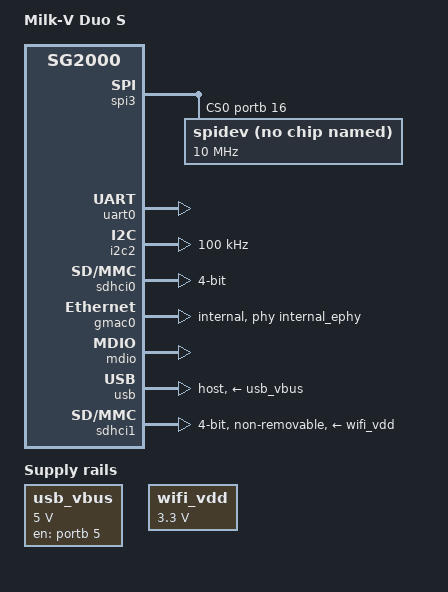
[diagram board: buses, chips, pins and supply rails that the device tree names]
// SPDX-License-Identifier: (GPL-2.0 OR MIT)
/*
 * Device tree for the Milk-V Duo S (Sophgo SG2000, aarch64 ARM Cortex-A53).
 *
 * Based on mainline sg2000-milkv-duo-module-01-evb.dts.
 *
 * The Duo S uses the SG2000 SoM (Module 01) with a carrier board. This DTS
 * reuses the Module 01 DTSI, which enables eMMC, the sdhci1/WiFi stubs, and
 * aliases. It then adds the nodes that the Duo S carrier contributes:
 *   - uart0, enabled.
 *   - sdhci0, enabled for the SD card root.
 *   - chosen stdout-path for the ttyS0 console.
 *   - Ethernet: SG2000 internal EPHY (phy-mode = "internal"). The carrier has
 *     no external PHY. The DTSI sets phy-handle=<&internal_ephy> and
 *     phy-mode="internal". This DTS enables the MAC and MDIO.
 *   - USB: the usb node, enabled with dr_mode = "host". The carrier exposes a
 *     USB-A host port. GPIO portb pin 5 (USB_VBUS_EN) gates the port VBUS.
 *
 * Carrier nodes that are omitted:
 *   - LEDs and GPIO buttons: carrier-specific, not in the mainline sg2000 DTSI.
 *   - Camera/CSI: the ISP nodes are not in the mainline sg2000 DTSI.
 */

/dts-v1/;
#include "sg2000-milkv-duo-module-01.dtsi"
#include <dt-bindings/gpio/gpio.h>

/ {
	model = "Milk-V Duo S";
	compatible = "milkv,duo-s", "sophgo,sg2000";

	chosen {
		stdout-path = "serial0:115200n8";
	};
};

/*
 * SoC reset for userspace `reboot`.
 *
 * The mainline sg2000.dtsi has no watchdog node, so mainline Linux registers
 * no restart handler for this SoC other than PSCI. The inherited /psci node
 * (arm,psci-0.2, method "smc") routes machine_restart to SYSTEM_RESET in BL31.
 * The SG2000 BL31 blob does not implement SYSTEM_RESET. The SMC returns and
 * machine_restart() spins forever after printing "reboot: Restarting system".
 *
 * The fix is to expose the CV1800B/SG2000 Synopsys DesignWare watchdog. The
 * mainline dw_wdt driver (CONFIG_DW_WDT) registers a restart handler at
 * priority 128. Its dw_wdt_restart() programs the shortest timeout in RESET
 * response mode and kicks the counter. This asserts the SoC watchdog-reset line.
 *
 * The watchdog reset output is gated in the always-on RTC block by
 * RTC_EN_WDT_RST_REQ (0x050260E0). The vendor FSBL (sophgo/fsbl plat/cv181x,
 * built by pkgs/firmware/fsbl.nix) writes 0x050260E0 = 1 in early platform
 * init. A watchdog timeout then propagates to a full SoC reset. Mainline Linux
 * does not clear that bit, so the watchdog restart handler resets the SoC.
 *
 * Node facts:
 *   - base 0x03010000, size 0x1000: from the vendor cv181x_base.dtsi
 *     "cv-wd@0x3010000" (compatible "snps,dw-wdt") and vendor u-boot
 *     WATCHDOG_BASE = TOP_BASE + 0x10000 = 0x03000000 + 0x10000.
 *   - clock CLK_APB_WDT (58): the mainline sophgo clk driver registers the
 *     clk_apb_wdt gate off the 25 MHz osc, matching the vendor
 *     CONFIG_DW_WDT_CLOCK_KHZ 25000. dw_wdt takes the first unnamed clock
 *     (devm_clk_get_enabled(dev, NULL)) as its timer clock.
 * `resets` is omitted. dw_wdt treats it as optional and the WDT is already out
 * of reset from u-boot. This avoids a dependency on the sophgo,cv1800b-reset
 * driver being built in.
 */
/* The mainline sg2000.dtsi gives the soc node no label, so merge by full path. */
/ {
	/* The SPI core sets bus_num from of_alias_get_id(node, "spi") and falls
	 * back to dynamic numbering when no alias matches. This alias fixes the
	 * controller to bus 3, so the device is /dev/spidev3.0 and not
	 * /dev/spidev0.0. */
	aliases {
		spi3 = &spi3;
	};

	soc {
		watchdog@3010000 {
			compatible = "snps,dw-wdt";
			reg = <0x03010000 0x1000>;
			clocks = <&clk CLK_APB_WDT>;
		};

		/* Reset controller. reset-simple handles sophgo,cv1800b-reset. The
		 * mainline sg2000.dtsi omits it. SPI3 comes up held in reset on the
		 * ARM core, so its register access stalls the dw_spi probe until the
		 * driver deasserts RST_SPI3. */
		rst: reset-controller@3003000 {
			compatible = "sophgo,cv1800b-reset";
			reg = <0x03003000 0x1000>;
			#reset-cells = <1>;
		};

		/* SPI3 (DesignWare APB SSI). The mainline sg2000.dtsi omits the SPI
		 * controllers, so this DTS defines the node. It is on the 40-pin
		 * header:
		 *   pin19 XGPIOB_13/SPI3_SDO(MOSI)  pin21 XGPIOB_14/SPI3_SDI(MISO)
		 *   pin23 XGPIOB_15/SPI3_SCK        pin24 XGPIOB_16/SPI3_CS
		 * The pads are VIVO_D5..D8, SPI3 = pinmux 5 (see &spi3_cfg). */
		spi3: spi@41b0000 {
			compatible = "snps,dw-apb-ssi";
			reg = <0x041b0000 0x10000>;
			#address-cells = <1>;
			#size-cells = <0>;
			interrupts = <SOC_PERIPHERAL_IRQ(41) IRQ_TYPE_LEVEL_HIGH>;
			clocks = <&clk CLK_SPI>, <&clk CLK_APB_SPI3>;
			clock-names = "ssi_clk", "pclk";
			/* No reset. SPI3 is already out of reset from u-boot/FSBL, and
			 * the vendor arm64 DTS drives it with no reset. Mainline has no
			 * cv18xx reset header to verify an RST_SPI3 index against, so
			 * this DTS does not touch an unverified reset bit. */
			num-cs = <1>;
			/* No DMA. The mainline dw-axi-dmac cannot do slave DMA on
			 * this SoC. dw_axi_dma_set_hw_channel() programs the
			 * handshake number through a second register window (apb_regs),
			 * mapped only for compatibles that carry
			 * AXI_DMA_FLAG_HAS_APB_REGS. snps,axi-dma-1.01a has no such
			 * flag. On the SG2000 the handshake selection lives in the
			 * dmamux instead. With dmas set, every slave prepare fails with
			 *   dw_axi_dmac_platform 4330000.dma-controller: apb_regs not initialized
			 * and dw_spi retries per frame. The IDs are correct (SPI3_TX 23,
			 * SPI3_RX 22, cpu cell 0 = CA53 / 1 = C906B), but the driver
			 * support is not present. PIO is slower but boots reliably. */
			/* GPIO chip select, active high. The board wires
			 * LED_DIN = CS AND SDO through U10, and the AND gate only
			 * passes data while CS is high.
			 *
			 * The native DW CS cannot do this. dw_spi_set_cs only
			 * chooses whether to set the Slave Enable bit. SER is set
			 * regardless of active-high or active-low CS level, so the
			 * pad stays active-low in hardware and SPI_CS_HIGH has no
			 * effect on it.
			 *
			 * A gpiod CS honours polarity: spi_toggle_csgpiod() calls
			 * gpiod_set_value(desc, activate) and the GPIO library
			 * applies GPIO_ACTIVE_HIGH. dw_spi sets
			 * SPI_CONTROLLER_GPIO_SS, so the core still calls set_cs to
			 * raise SER and the transfer proceeds.
			 *
			 * VIVO_D5 is XGPIOB_16 at mux 3, so the pad is muxed as
			 * GPIO rather than SPI3_CS (see &spi3_cfg). */
			cs-gpios = <&portb 16 GPIO_ACTIVE_HIGH>;
			pinctrl-0 = <&spi3_cfg>;
			pinctrl-names = "default";
			status = "okay";

			/* spidev at /dev/spidev3.0. spidev only binds known
			 * compatibles; rohm,dh2228fv is in spidev_dt_ids. */
			spidev@0 {
				compatible = "rohm,dh2228fv";
				reg = <0>;
				spi-max-frequency = <10000000>;
				/* Required for the U10 AND gate. The
				 * GPIO_ACTIVE_HIGH flag on cs-gpios does not
				 * decide polarity. gpiolib-of.c forces every
				 * SPI cs-gpio active low unless the child node
				 * carries "spi-cs-high" (SPI children have
				 * active-low chip selects by default). Without
				 * this the line is active low, so CS goes low
				 * during transfers, the AND gate emits zero, and
				 * the LEDs receive no data. */
				spi-cs-high;
			};
		};
	};
};

/*
 * Pin configuration for the SD0 and UART0 pads. The pinmux matches the EVB
 * carrier.
 */
&pinctrl {
	/* SPI3 on the 40-pin header (pads VIVO_D5..D8, mux 5). The VIVO pads are
	 * 3.3V on the carrier, so power-source = <3300>. power-source is required:
	 * the mainline sophgo pinctrl (cv1800_dt_node_to_map_post) returns -EINVAL
	 * for any pinmux subnode that omits it. That fails pinctrl_bind_pins in
	 * really_probe before dw_spi_mmio_probe runs (silent EINVAL, no dev_err). */
	spi3_cfg: spi3-cfg {
		/* No bias-disable. The mainline sophgo pinctrl (sophgo_pconf_set)
		 * supports pull-up, pull-down, and bus-hold, but not BIAS_DISABLE,
		 * and returns -ENOTSUPP for it. That failure rolls back the whole
		 * pinctrl state, including the mux, and leaves the pins unclaimed.
		 * Omitting bias leaves the pad at its default (no pull), which suits
		 * a push-pull SCK/MOSI. */
		spi3-sck-pins {
			pinmux = <PINMUX(PIN_VIVO_D6, 5)>;
			power-source = <3300>;
		};
		spi3-sdo-pins {
			pinmux = <PINMUX(PIN_VIVO_D8, 5)>;
			power-source = <3300>;
		};
		spi3-sdi-pins {
			pinmux = <PINMUX(PIN_VIVO_D7, 5)>;
			bias-pull-up;
			power-source = <3300>;
		};
		/* CS is a GPIO here, not SPI3_CS. Mux 3 is XGPIOB_16; mux 5
		 * would be SPI3_CS. The board gates LED_DIN with CS through the
		 * U10 AND gate and needs it active high, which the native DW CS
		 * cannot do. See the cs-gpios comment on &spi3. */
		spi3-cs-pins {
			pinmux = <PINMUX(PIN_VIVO_D5, 3)>;
			bias-pull-up;
			power-source = <3300>;
		};
	};

	sdhci0_cfg: sdhci0-cfg {
		sdhci0-cd-pins {
			pinmux = <PINMUX(PIN_SD0_CD, 0)>;
			bias-pull-up;
			drive-strength-microamp = <10800>;
			power-source = <3300>;
		};

		sdhci0-clk-pins {
			pinmux = <PINMUX(PIN_SD0_CLK, 0)>;
			bias-pull-up;
			drive-strength-microamp = <16100>;
			power-source = <3300>;
		};

		sdhci0-cmd-pins {
			pinmux = <PINMUX(PIN_SD0_CMD, 0)>;
			bias-pull-up;
			drive-strength-microamp = <10800>;
			power-source = <3300>;
		};

		sdhci0-data-pins {
			pinmux = <PINMUX(PIN_SD0_D0, 0)>,
				 <PINMUX(PIN_SD0_D1, 0)>,
				 <PINMUX(PIN_SD0_D2, 0)>,
				 <PINMUX(PIN_SD0_D3, 0)>;
			bias-pull-up;
			drive-strength-microamp = <10800>;
			power-source = <3300>;
		};
	};

	uart0_cfg: uart0-cfg {
		uart0-pins {
			pinmux = <PINMUX(PIN_UART0_TX, 0)>,
				 <PINMUX(PIN_UART0_RX, 0)>;
			bias-pull-up;
			drive-strength-microamp = <10800>;
			power-source = <3300>;
		};
	};

	/*
	 * I2C2 (SG2000 IIC2) — LT8912B DSI->HDMI bridge control bus.
	 * Pads PIN_IIC2_SCL (ball J13) / PIN_IIC2_SDA (ball J14) = module pins
	 * 39/40, schematic net I2C_SENSOR1. IIC2 is the pads' PRIMARY function,
	 * so mux 0 selects it (same "named pad -> mux 0" pattern the working
	 * uart0/sd0 groups use; verified against the mainline sg2000 pin table,
	 * drivers/pinctrl/sophgo/pinctrl-sg2000.c: CV1800_GENERAL_PIN(PIN_IIC2_*)).
	 *
	 * power-source = <1800>, NOT 3300: both pads are IO_TYPE_1V8_ONLY in the
	 * VDDIO_RTC domain (same pin table). The mainline sophgo pinctrl records
	 * one power-cfg per domain (cv1800_set_power_cfg) and returns -EINVAL if a
	 * later pin in the SAME domain disagrees — but no other VDDIO_RTC pad is
	 * muxed on this board (uart0=EMMC, spi3=VIVO, sd0=SD0, sd1=SD1), so 1800
	 * is unambiguous. A 3300 here would both mis-set the 1V8 RTC rail and
	 * risk that -EINVAL rollback (which unclaims the whole group).
	 *
	 * No bias: I2C is open-drain with external 10k pull-ups (R20/R21). The
	 * sophgo pinctrl rejects bias-disable (-ENOTSUPP, rolls back the mux), and
	 * an internal pull is unnecessary given the board pull-ups, so bias is
	 * omitted entirely (pad default = no pull), mirroring the spi3 sck/sdo pins.
	 */
	iic2_cfg: iic2-cfg {
		iic2-scl-pins {
			pinmux = <PINMUX(PIN_IIC2_SCL, 0)>;
			power-source = <1800>;
		};
		iic2-sda-pins {
			pinmux = <PINMUX(PIN_IIC2_SDA, 0)>;
			power-source = <1800>;
		};
	};
};

/*
 * GPIO line names, so gpioinfo reads as a wiring diagram instead of a list of
 * numbers.
 *
 * Names only. This sets no direction, no pull, and no pad mux, so it cannot
 * change board behaviour. Every consumer still claims its own line.
 *
 * porta and portb are XGPIOA and XGPIOB. The board also uses a porte
 * (PWR_GPIO, the RTC domain block at 0x05021000) for the USER button and the
 * HDMI I2C pads. Mainline has no such controller node and pinctrl-sg2000.h
 * names only PWR_GPIO0..2, so those lines are not representable here.
 */
&porta {
	gpio-line-names =
		"",                  /* 0  CAM_MCLK0 (pin 12, NC) */
		"hdmi-5v-fault-n",   /* 1  U19 /FAULT */
		"", "", "", "", "", "",
		"", "",
		"",                  /* 10 SD_D1 */
		"", "",
		"sd-cd-n",           /* 13 SD card detect */
		"",
		"wifi-poweron",      /* 15 on-module AIC8800 */
		"",                  /* 16 UART0_TX */
		"",
		"jtag-tck",          /* 18 */
		"jtag-tms",          /* 19 */
		"jtag-trst",         /* 20 */
		"", "", "", "", "", "", "",
		"jtag-tdi",          /* 28 v1A datasheet swaps TDI/TDO */
		"jtag-tdo",          /* 29 */
		"usb-5v-fault-n",    /* 30 U5 /FAULT */
		"";
};

&portb {
	gpio-line-names =
		"pwm0-buck",         /* 0 */
		"adc3-j6",           /* 1  SARADC ch3 */
		"adc-vbat",          /* 2  SARADC ch2 */
		"adc-vsel",          /* 3  SARADC ch1 */
		"btn-boot-n",        /* 4  S1, also the ROM recovery strap */
		"usb-host-vbus-en",  /* 5  wired-AND with SERIAL_VBUS */
		"usb-vbus-det",      /* 6 */
		"", "", "", "",
		"core-sel-latch-clk",/* 11 U2 74AUP1G175 CP */
		"core-sel-latch-d",  /* 12 1=ARM, 0=RISC-V on next boot */
		"",                  /* 13 SPI3_SDO, LED chain via U10 */
		"",                  /* 14 SPI3_SDI */
		"",                  /* 15 SPI3_SCK */
		"",                  /* 16 SPI3_CS, gates LED_DIN via U10 */
		"sao-sda",           /* 17 IIC1 through U12 TXS0104E */
		"sao-scl",           /* 18 IIC1 */
		"sao-gpio2",         /* 19 */
		"sao-fault-n",       /* 20 U13 /FAULT */
		"sao-power-en",      /* 21 U13 EN + U12 OE */
		"sd-fault-n",        /* 22 U8 /FAULT */
		"core-sel-strap",    /* 23 readback: 1=RISC-V, 0=ARM */
		"", "", "", "", "", "", "", "";
};

/* Console UART */
&uart0 {
	pinctrl-0 = <&uart0_cfg>;
	pinctrl-names = "default";
	status = "okay";
};

/*
 * I2C2 (IIC2) — control bus for the LT8912B DSI->HDMI bridge (BadgeOS #4, M1).
 * The mainline cv180x.dtsi defines i2c2 (i2c@4020000, snps,designware-i2c,
 * CLK_I2C/CLK_APB_I2C2, RST_I2C2) with status="disabled"; enable it and mux
 * the IIC2 pads (see &iic2_cfg). No child yet: the mainline lontium-lt8912b
 * DRM bridge cannot bind without a DSI host, so M1 only makes the bus visible
 * to i2c-tools (i2cdetect should ACK 0x48/0x49/0x4A). The DSI graph + bridge
 * node come with the DSI-host work (M3+).
 *
 * 100 kHz: the board uses 10k pull-ups (R20/R21); 400 kHz would violate the
 * I2C rise-time spec. The mainline node sets no clock-frequency (driver would
 * default to fast mode), so set it explicitly.
 */
&i2c2 {
	status = "okay";
	clock-frequency = <100000>;
	pinctrl-0 = <&iic2_cfg>;
	pinctrl-names = "default";
};

/* SD card (rootfs on /dev/mmcblk0, NIXOS_ARM label) */
&sdhci0 {
	bus-width = <4>;
	no-1-8-v;
	no-mmc;
	no-sdio;
	disable-wp;
	pinctrl-0 = <&sdhci0_cfg>;
	pinctrl-names = "default";
	status = "okay";
};

/* On-chip 10/100 Ethernet: SG2000 internal EPHY straight to the RJ45 magnetics.
 * The carrier has no external PHY. phy-mode is set to "internal" with the
 * internal EPHY handle. Note: mainline 7.0.x has no driver to power or init the
 * internal EPHY (no cv1800b dwmac glue, no EPHY phy driver), so eth0 registers
 * but does not link until the EPHY is initialized (for example in U-Boot) or a
 * kernel driver lands. */
&gmac0 {
	status = "okay";
	phy-mode = "internal";
	phy-handle = <&internal_ephy>;
};

&mdio {
	status = "okay";
};

/*
 * USB: SG2000 DWC2 OTG core driving the USB-A host port.
 * dr_mode is "host". The carrier exposes a USB-A host port.
 * VBUS to the port is gated by USB_VBUS_EN = GPIO portb pin 5, modelled as a
 * fixed regulator so the port powers bus-powered devices.
 */
/ {
	usb_vbus: regulator-usb-vbus {
		compatible = "regulator-fixed";
		regulator-name = "usb-vbus";
		regulator-min-microvolt = <5000000>;
		regulator-max-microvolt = <5000000>;
		gpio = <&portb 5 GPIO_ACTIVE_HIGH>;
		enable-active-high;
		regulator-boot-on;
	};
};

&usb {
	dr_mode = "host";
	vbus-supply = <&usb_vbus>;
	status = "okay";
};

/*
 * Onboard WiFi: AICSemi AIC8800 on the SDIO bus mmc@4320000 (label sdhci1).
 * mmc@4310000 = SD card (sdhci0), mmc@4300000 = eMMC. GPIO PORTA pin 15
 * (WL_REG_ON, active-high) powers the AIC8800, driven via the cvi host's
 * poweron-gpios. The out-of-tree aic8800 driver and firmware are separate.
 */
/ {
	/* WL_REG_ON must have one consumer. The cvitek host drives it via &sdhci1
	 * poweron-gpios. An mmc-pwrseq node on the same porta15 line would add a
	 * second consumer, which forces the kernel's can_sleep gpio-shared-proxy.
	 * aicbsp_set_subsys then calls the non-sleeping gpiod_set_value() on that
	 * proxy (gpiolib.c warns to use gpiod_set_value_cansleep) and mis-sequences
	 * the WL_REG_ON power enable. With one consumer, porta15 is a direct,
	 * non-sleeping gpiochip0 line and the power toggle is clean. */

	/* The AIC8800 core VDD reports a 3.3V OCR window in CMD5, so the mmc core
	 * must see vmmc as 3.3V or it rejects the card ("no support for card's
	 * volts", -EINVAL) before it powers. The bus I/O is taken to 1.8V in
	 * hardware by the cv18xx-vsw driver patch (SD_PWRSW_CTRL) under NO_1_8_V,
	 * matching the vendor, so there is no 1.8V vqmmc regulator. */
	wifi_vdd: regulator-wifi-vdd {
		compatible = "regulator-fixed";
		regulator-name = "aic8800-vdd";
		regulator-min-microvolt = <3300000>;
		regulator-max-microvolt = <3300000>;
		regulator-always-on;
		regulator-boot-on;
	};
};

/*
 * WiFi SDIO bus pads. The mmc@4320000 controller uses the SD1 pads
 * (PIN_SD1_*, mux 0 = SDIO1, the same scheme as the SD0 pads for the card).
 * Without this mux the pads stay on their default function and the AIC8800
 * does not answer the SDIO probe.
 */
&pinctrl {
	/* The AIC8800 SDIO IO (VIO) is fixed 1.8V on this board, so the SoC SD1
	 * pads must be in the 1.8V IO domain, not 3.3V. With power-source=3300 the
	 * pad domain mismatches the chip's 1.8V VIO, and the fmac firmware's
	 * higher-rate SDIO fails to confirm START_APP. Set 1800 to match.
	 */
	sdhci1_cfg: sdhci1-cfg {
		sdhci1-clk-pins {
			pinmux = <PINMUX(PIN_SD1_CLK, 0)>;
			bias-pull-up;
			drive-strength-microamp = <16100>;
			power-source = <1800>;
		};

		sdhci1-cmd-pins {
			pinmux = <PINMUX(PIN_SD1_CMD, 0)>;
			bias-pull-up;
			drive-strength-microamp = <10800>;
			power-source = <1800>;
		};

		sdhci1-data-pins {
			pinmux = <PINMUX(PIN_SD1_D0, 0)>,
				 <PINMUX(PIN_SD1_D1, 0)>,
				 <PINMUX(PIN_SD1_D2, 0)>,
				 <PINMUX(PIN_SD1_D3, 0)>;
			bias-pull-up;
			drive-strength-microamp = <10800>;
			power-source = <1800>;
		};
	};
};

&sdhci1 {
	/* This config routes the AIC8800 in-band SDIO interrupt (CARD_INT on DAT1)
	 * through the stock sdhci sdio_claim_irq path. With cap-sdio-irq and the
	 * driver claiming the IRQ, stock sdhci enables SDHCI_INT_CARD_INT and pins
	 * the controller runtime-resumed (pm_runtime_get_noresume in
	 * sdhci_enable_sdio_irq). The card clock then keeps toggling during the idle
	 * post-START_APP wait, so the fmac confirmation interrupt is sensed. */
	status = "okay";
	/* Marks this as the SD1/SDIO (wifi) instance for the cv18xx-vsw kernel
	 * patch. Its cv18xx_init sets FLAG_CV18XX_SD1 (reg_0x200[16] instance
	 * select and [8]/[9] reset-out in cv18xx_sdhci_reset) and FLAG_IO_FIXED_1V8
	 * (forces true 1.8V signalling). Without this the patched glue treats the
	 * node like an SD card and the SDIO-specific bring-up does not run. */
	sophgo,sdio-inst1;
	/* Binds the out-of-tree cvitek cv181x SDHCI host driver
	 * (pkgs/firmware/sdhci-cv181x) instead of mainline sdhci-of-dwcmshc, to
	 * reproduce the vendor SDIO bring-up the AIC8800 fmac needs. Replaces the
	 * inherited "sophgo,cv1800b-dwcmshc" compatible. clk_wifisd = SD1
	 * functional clock (driver sets it to max-frequency); axi = register-bus
	 * clock. */
	compatible = "cvitek,cv181x-sdio";
	/* List the functional clock (CLK_SD1, 375MHz) first, so sdhci_pltfm_init
	 * picks it (clocks[0], devm_clk_get(NULL)) as host->max_clk. With axi first
	 * the divider runs off 300MHz for a 37.5MHz card clock instead of the
	 * required 46.875MHz (375/8). The driver also looks both clocks up by name,
	 * so the order is safe. */
	clocks = <&clk CLK_SD1>, <&clk CLK_AXI4_SD1>;
	clock-names = "clk_wifisd", "axi";
	bus-width = <4>;
	non-removable;
	no-mmc;
	no-sd;
	/* The CONFIG_OOB=n driver needs the in-band SDIO interrupt. mmc_of_parse
	 * maps this to MMC_CAP_SDIO_IRQ, so sdhci wires up SDHCI_INT_CARD_INT. */
	cap-sdio-irq;
	/* Keep the SDIO function powered and stop the controller idling away the
	 * clock across the post-jump wait. */
	keep-power-in-suspend;
	/* Match the vendor 375MHz SDIO source clock (CLK_SD1 = clk_wifisd). The
	 * bootrom-to-fmac handoff and the cv18xx PHY tap timing are calibrated for
	 * a 375MHz functional clock. The vendor host reads this property
	 * (src-frequency) for the source rate, decoupled from max-frequency (the
	 * bus-clock ceiling). */
	src-frequency = <375000000>;
	/* The cv181x host's get_max_clock op returns f_max (this max-frequency) as
	 * sdhci's divider base (SDHCI_QUIRK_CAP_CLOCK_BASE_BROKEN), so the
	 * high-speed card clock is f_max/4. 187.5MHz gives 46.875MHz, which the
	 * fixed cv18xx PHY tap sample point requires. A lower rate shifts the sample
	 * point and corrupts the post-jump firmware message DMA. */
	max-frequency = <187500000>;
	/* The card core VDD OCR window is 3.3V (see wifi_vdd). The 1.8V bus I/O is
	 * done in hardware at the SoC pad rail by the cv18xx-vsw patch under
	 * NO_1_8_V, so there is no vqmmc regulator. A 1.8V vqmmc would pin ocr_avail
	 * to 1.8V and the core would reject the card's 3.3V OCR. */
	vmmc-supply = <&wifi_vdd>;
	pinctrl-0 = <&sdhci1_cfg>;
	pinctrl-names = "default";
	/* Do not auto-power the card via mmc-pwrseq, which would raise WL_REG_ON at
	 * boot and enumerate the card before the aic driver can drive it. Instead
	 * hand WL_REG_ON to the cv181x host driver as poweron-gpios. The driver
	 * drives it low at probe (card absent), then the aic CONFIG_PLATFORM_CVITEK
	 * path raises it and calls cvi_sdio_rescan() to enumerate the fmac in
	 * bootrom mode (CMD5 works). Its message task then starts and grants TX
	 * credits. */
	poweron-gpios = <&porta 15 GPIO_ACTIVE_HIGH>;
};
